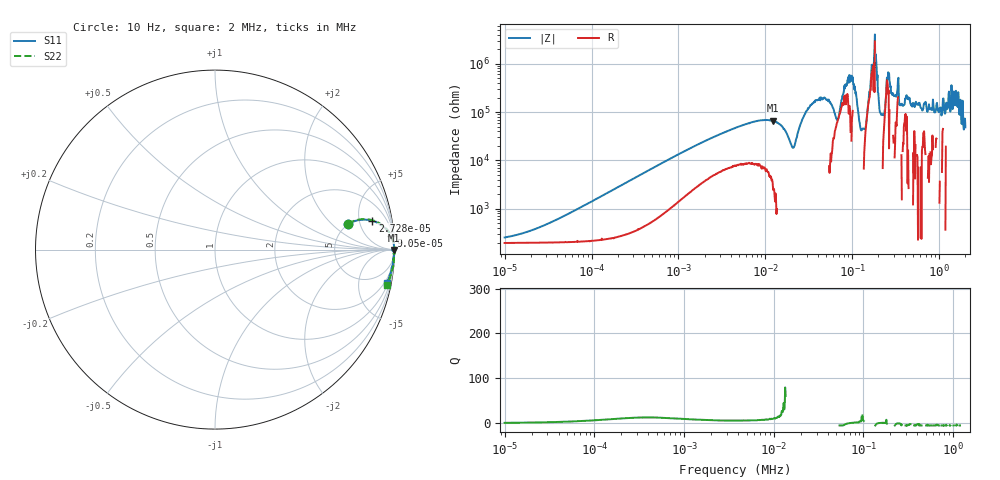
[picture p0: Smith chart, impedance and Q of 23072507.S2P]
!Agilent Technologies,E5061B,MY49204007,A.02.12
!Date: Wed Jul 23 11:03:15 2025
!Data & Calibration Information:
!Freq	S11:SOLT2(ON)	S21:SOLT2(ON)	S12:SOLT2(ON)	S22:SOLT2(ON)
# Hz S dB R 50
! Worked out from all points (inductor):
!   1040 points, 10 Hz to 2 MHz, reference 50 ohm
!   read as one part in series: L = 2.23 H near 42.95 Hz
!   highest Q = 25.2 at 12.27 kHz (marker M1), where L = 860 mH
!   self-resonance near 21.11 kHz
!   S11 on the Smith chart (normalised r, x): 10 Hz: 4.93, +3.23; 27.28 Hz: 5.02, +7.80; 90.5 Hz: 5, +25; 2 MHz: 1, -10
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10  -2.46 10.8  -10.56 -28.8  -10.54 -28.7  -2.45 11.1
27.284  -1.01 10.4  -13.84 -52.5  -13.83 -52.4  -0.99 10.6
77.209  -0.19 5.0  -21.00 -73.9  -21.00 -73.8  -0.17 5.2
90.499  -0.14 4.3  -22.28 -76.0  -22.28 -75.9  -0.13 4.5
588.818  -0.01 0.7  -38.11 -84.5  -38.11 -84.4  0.00 0.9
4498.482  -0.01 0.1  -53.42 -80.2  -53.40 -80.4  0.01 0.2
12273.72  -0.01 -0.1  -56.44 -87.9  -56.38 -87.3  0.01 0.1
20887.52  -0.11 -0.1  -45.26 -170.5  -45.27 -170.4  -0.01 0.0
34305.13  -0.01 -0.1  -63.45 102.6  -63.58 103.6  0.01 -0.0
50586.14  -0.01 -0.2  -65.01 91.8  -65.15 91.9  0.01 -0.2
67848.69  -0.01 -0.3  -56.63 12.6  -56.61 14.1  -0.04 -0.3
82060.32  -0.01 -0.5  -69.72 -59.6  -70.23 -58.8  0.00 -0.2
95488.24  -0.01 -0.6  -75.02 -86.5  -74.40 -91.7  0.00 -0.4
134101.3  -0.03 -0.6  -53.17 90.3  -53.10 89.1  -0.01 -0.7
144918.2  -0.02 -0.7  -55.64 7.0  -55.59 8.2  -0.03 -0.6
177790.9  -0.01 -0.9  -82.20 -38.7  -82.03 -76.3  0.00 -0.8
217963.3  -0.01 -1.2  -58.95 98.7  -59.47 103.8  -0.01 -1.0
261946.5  -0.01 -1.3  -75.70 61.1  -72.33 80.9  -0.01 -1.3
367596.4  -0.02 -1.8  -63.07 82.9  -63.58 90.9  -0.01 -1.9
1016303  -0.06 -5.5  -61.27 82.5  -61.91 80.3  -0.04 -6.0
1574823  -0.15 -8.4  -68.42 -156.9  -70.45 -168.4  -0.11 -9.2
2000000  -0.20 -11.0  -53.98 -128.5  -53.02 -129.1  -0.20 -11.8
